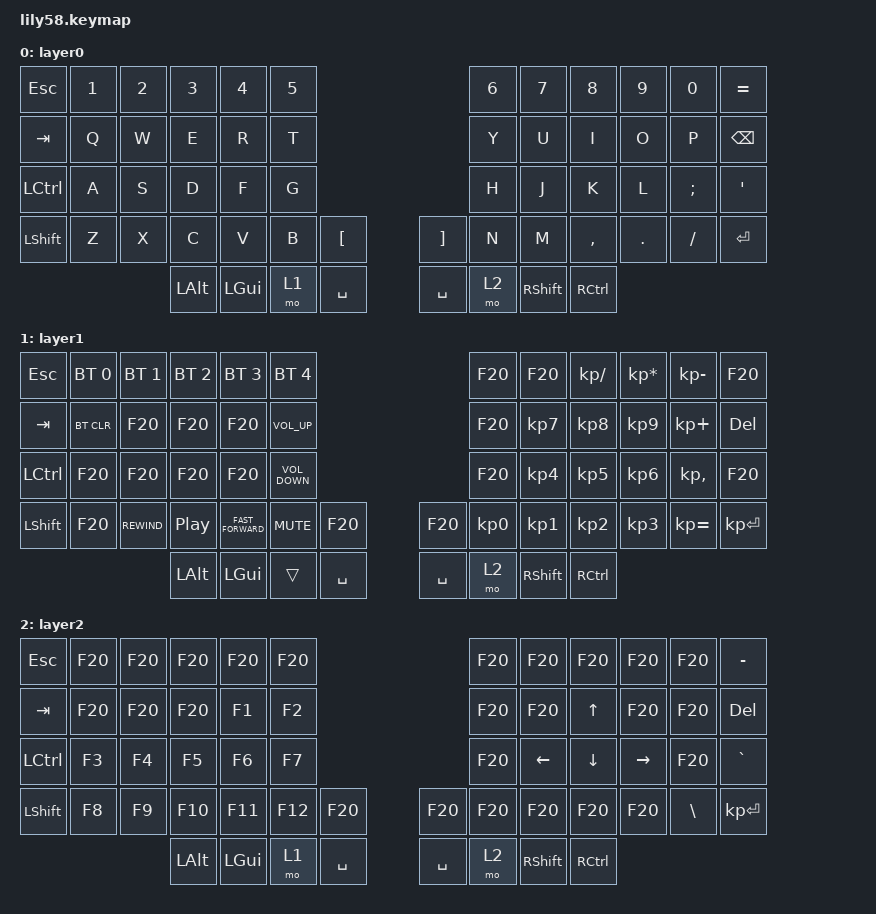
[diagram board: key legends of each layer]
/*
 * Copyright (c) 2020 The ZMK Contributors
 *
 * SPDX-License-Identifier: MIT
 */

#include <behaviors.dtsi>
#include <dt-bindings/zmk/bt.h>
#include <dt-bindings/zmk/keys.h>

#define DEFAULT 0
#define LOWER 1
#define RAISE 2
#define SUPER 3

/ {
    combos {
        compatible = "zmk,combos";

        combo_super {
            timeout-ms = <50>;
            key-positions = <52 56>;
            bindings = <&mo 3>;
        };
    };

    behaviors {
        grvesc: grave_escape {
            compatible = "zmk,behavior-mod-morph";
            label = "GRAVE_ESCAPE";
            #binding-cells = <0>;
            bindings =
                <&kp ESC>,
                <&kp GRAVE>;

            mods = <(MOD_LSFT)>;
        };
    };

    keymap {
        compatible = "zmk,keymap";

        layer0 {
            bindings = <
      &kp ESCAPE  &kp NUMBER_1  &kp N2        &kp N3        &kp N4  &kp N5                                       &kp N6           &kp N7             &kp N8   &kp N9         &kp N0         &kp EQUAL
         &kp TAB         &kp Q   &kp W         &kp E         &kp R   &kp T                                        &kp Y            &kp U              &kp I    &kp O          &kp P     &kp BACKSPACE
&kp LEFT_CONTROL         &kp A   &kp S         &kp D         &kp F   &kp G                                        &kp H            &kp J              &kp K    &kp L  &kp SEMICOLON  &kp SINGLE_QUOTE
  &kp LEFT_SHIFT         &kp Z   &kp X         &kp C         &kp V   &kp B  &kp LEFT_BRACKET  &kp RIGHT_BRACKET   &kp N            &kp M          &kp COMMA  &kp DOT      &kp SLASH         &kp ENTER
                                        &kp LEFT_ALT  &kp LEFT_GUI   &mo 1         &kp SPACE          &kp SPACE   &mo 2  &kp RIGHT_SHIFT  &kp RIGHT_CONTROL
            >;
        };

        layer1 {
            bindings = <
      &kp ESCAPE  &bt BT_SEL 0  &bt BT_SEL 1      &bt BT_SEL 2        &bt BT_SEL 3       &bt BT_SEL 4                          &kp F20          &kp F20       &kp KP_SLASH  &kp KP_ASTERISK  &kp KP_MINUS       &kp F20
         &kp TAB    &bt BT_CLR       &kp F20           &kp F20             &kp F20    &kp C_VOLUME_UP                          &kp F20        &kp KP_N7          &kp KP_N8        &kp KP_N9   &kp KP_PLUS    &kp DELETE
&kp LEFT_CONTROL       &kp F20       &kp F20           &kp F20             &kp F20  &kp C_VOLUME_DOWN                          &kp F20        &kp KP_N4          &kp KP_N5        &kp KP_N6  &kp KP_COMMA       &kp F20
  &kp LEFT_SHIFT       &kp F20  &kp C_REWIND  &kp C_PLAY_PAUSE  &kp C_FAST_FORWARD         &kp C_MUTE    &kp F20    &kp F20  &kp KP_N0        &kp KP_N1          &kp KP_N2        &kp KP_N3  &kp KP_EQUAL  &kp KP_ENTER
                                                  &kp LEFT_ALT        &kp LEFT_GUI             &trans  &kp SPACE  &kp SPACE      &mo 2  &kp RIGHT_SHIFT  &kp RIGHT_CONTROL
            >;
        };

        layer2 {
            bindings = <
      &kp ESCAPE  &kp F20  &kp F20       &kp F20       &kp F20  &kp F20                        &kp F20          &kp F20            &kp F20    &kp F20        &kp F20     &kp MINUS
         &kp TAB  &kp F20  &kp F20       &kp F20        &kp F1   &kp F2                        &kp F20          &kp F20             &kp UP    &kp F20        &kp F20    &kp DELETE
&kp LEFT_CONTROL   &kp F3   &kp F4        &kp F5        &kp F6   &kp F7                        &kp F20         &kp LEFT           &kp DOWN  &kp RIGHT        &kp F20     &kp GRAVE
  &kp LEFT_SHIFT   &kp F8   &kp F9       &kp F10       &kp F11  &kp F12    &kp F20    &kp F20  &kp F20          &kp F20            &kp F20    &kp F20  &kp BACKSLASH  &kp KP_ENTER
                                    &kp LEFT_ALT  &kp LEFT_GUI    &mo 1  &kp SPACE  &kp SPACE    &mo 2  &kp RIGHT_SHIFT  &kp RIGHT_CONTROL
            >;
        };
    };
};
